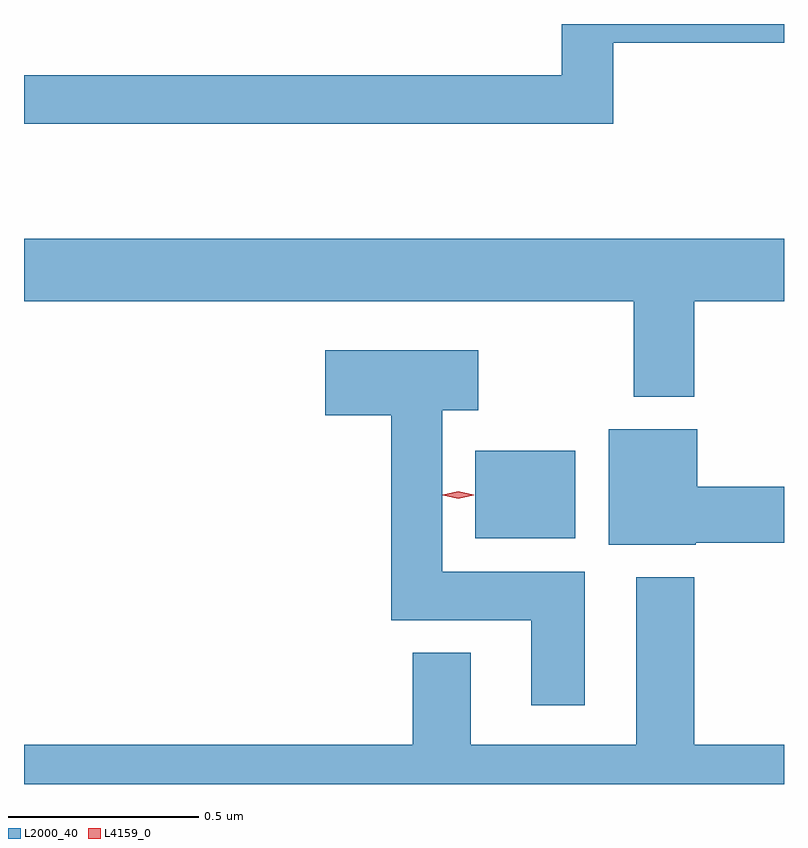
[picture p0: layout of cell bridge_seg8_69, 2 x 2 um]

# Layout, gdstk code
import gdstk
lib = gdstk.Library(unit=1e-6, precision=1e-09)
def R(c, l, rs):  # rectangles x0, y0, x1, y1
    for r in rs: c.add(gdstk.rectangle(r[:2], r[2:], *l))
def P(c, l, *ps):  # polygons
    for p in ps: c.add(gdstk.Polygon(p, *l))
L2000_40 = (2000, 40)
L4159_0 = (4159, 0)

bridge_seg8_69 = lib.new_cell('bridge_seg8_69')
R(bridge_seg8_69, L2000_40, [(925.922,1085.24,926.185,1085.47)])
P(bridge_seg8_69, L2000_40, [(926.285,1086.544),(926.734,1086.544),(926.734,1086.593),(926.149,1086.593),(926.149,1086.458),(924.734,1086.458),(924.734,1086.33),(926.285,1086.33)],
  [(926.498,1085.864),(926.734,1085.864),(926.734,1086.028),(924.734,1086.028),(924.734,1085.864),(926.338,1085.864),(926.338,1085.612),(926.498,1085.612)],
  [(926.209,1085.152),(925.834,1085.152),(925.834,1085.576),(925.93,1085.576),(925.93,1085.734),(925.527,1085.734),(925.527,1085.564),(925.7,1085.564),(925.7,1085.024),(926.069,1085.024),(926.069,1084.8),(926.209,1084.8)],
  [(926.502,1085.228),(926.734,1085.228),(926.734,1085.375),(926.506,1085.375),(926.506,1085.527),(926.273,1085.527),(926.273,1085.222),(926.502,1085.222)],
  [(926.734,1084.696),(926.498,1084.696),(926.498,1085.137),(926.345,1085.137),(926.345,1084.696),(925.909,1084.696),(925.909,1084.939),(925.757,1084.939),(925.757,1084.696),(924.734,1084.696),(924.734,1084.593),(926.734,1084.593)])
P(bridge_seg8_69, L4159_0, [(925.877,1085.344),(925.836,1085.353),(925.836,1085.354),(925.836,1085.354),(925.877,1085.364),(925.918,1085.354),(925.918,1085.354),(925.918,1085.353)])

lib.write_gds('bridge_seg8_69.gds')
